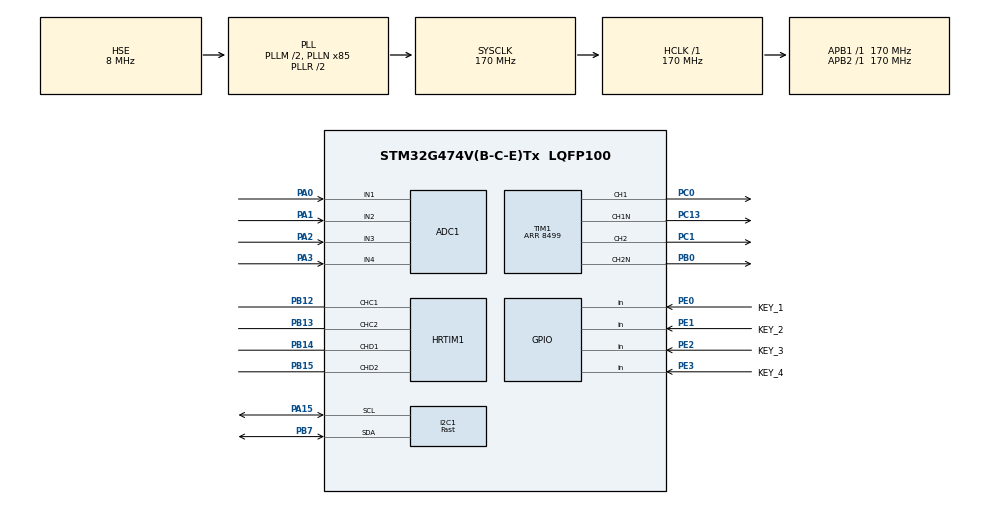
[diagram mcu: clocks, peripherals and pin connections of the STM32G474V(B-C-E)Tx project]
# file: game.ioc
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ADC1.Channel-0\#ChannelRegularConversion=ADC_CHANNEL_1
ADC1.Channel-1\#ChannelRegularConversion=ADC_CHANNEL_2
ADC1.Channel-2\#ChannelRegularConversion=ADC_CHANNEL_3
ADC1.Channel-3\#ChannelRegularConversion=ADC_CHANNEL_4
ADC1.DMAContinuousRequests=ENABLE
ADC1.ExternalTrigConv=ADC_EXTERNALTRIG_HRTIM_TRG1
ADC1.NbrOfConversion=4
ADC1.NbrOfConversionFlag=1
ADC1.OffsetNumber-0\#ChannelRegularConversion=ADC_OFFSET_NONE
ADC1.OffsetNumber-1\#ChannelRegularConversion=ADC_OFFSET_NONE
ADC1.OffsetNumber-2\#ChannelRegularConversion=ADC_OFFSET_NONE
ADC1.OffsetNumber-3\#ChannelRegularConversion=ADC_OFFSET_NONE
ADC1.Rank-0\#ChannelRegularConversion=1
ADC1.Rank-1\#ChannelRegularConversion=2
ADC1.Rank-2\#ChannelRegularConversion=3
ADC1.Rank-3\#ChannelRegularConversion=4
ADC1.SamplingTime-0\#ChannelRegularConversion=ADC_SAMPLETIME_47CYCLES_5
ADC1.SamplingTime-1\#ChannelRegularConversion=ADC_SAMPLETIME_47CYCLES_5
ADC1.SamplingTime-2\#ChannelRegularConversion=ADC_SAMPLETIME_47CYCLES_5
ADC1.SamplingTime-3\#ChannelRegularConversion=ADC_SAMPLETIME_47CYCLES_5
ADC1.master=1
Dma.ADC1.0.Direction=DMA_PERIPH_TO_MEMORY
Dma.ADC1.0.EventEnable=DISABLE
Dma.ADC1.0.Instance=DMA1_Channel1
Dma.ADC1.0.MemDataAlignment=DMA_MDATAALIGN_WORD
Dma.ADC1.0.MemInc=DMA_MINC_ENABLE
Dma.ADC1.0.Mode=DMA_CIRCULAR
Dma.ADC1.0.PeriphDataAlignment=DMA_PDATAALIGN_WORD
Dma.ADC1.0.PeriphInc=DMA_PINC_DISABLE
Dma.ADC1.0.Polarity=HAL_DMAMUX_REQ_GEN_RISING
Dma.ADC1.0.Priority=DMA_PRIORITY_LOW
Dma.ADC1.0.RequestNumber=1
Dma.ADC1.0.SignalID=NONE
Dma.ADC1.0.SyncEnable=DISABLE
Dma.ADC1.0.SyncPolarity=HAL_DMAMUX_SYNC_NO_EVENT
Dma.ADC1.0.SyncRequestNumber=1
Dma.ADC1.0.SyncSignalID=NONE
Dma.Request0=ADC1
HRTIM1.ADCTrigger1_Source1=HRTIM_ADCTRIGGEREVENT13_TIMERC_PERIOD
HRTIM1.ADCTrigger_Id1=HRTIM_ADCTRIGGER_1
HRTIM1.CompareUnit1-Output_TC1TC2=HRTIM_COMPAREUNIT_1
HRTIM1.CompareUnit1-Output_TD1TD2=HRTIM_COMPAREUNIT_1
HRTIM1.CompareValue1-Output_TC1TC2=16000
HRTIM1.CompareValue1-Output_TD1TD2=16000
HRTIM1.DeadTimeInsertion-Output_TC1TC2=HRTIM_TIMDEADTIMEINSERTION_ENABLED
HRTIM1.DeadTimeInsertion-Output_TD1TD2=HRTIM_TIMDEADTIMEINSERTION_ENABLED
HRTIM1.Deadtimeconfig-Output_TC1TC2=HRTIM_TIMERINDEX_TIMER_C
HRTIM1.Deadtimeconfig-Output_TD1TD2=HRTIM_TIMERINDEX_TIMER_D
HRTIM1.NumberADCTriggerSource1=1
HRTIM1.NumberResetSource1-Output_TC1TC2=1
HRTIM1.NumberResetSource1-Output_TD1TD2=1
HRTIM1.NumberResetSource2_TC=0
HRTIM1.NumberResetSource2_TD=0
HRTIM1.NumberResetTrigger-Output_TC1TC2=1
HRTIM1.NumberResetTrigger-Output_TD1TD2=1
HRTIM1.NumberSetSource1-Output_TC1TC2=1
HRTIM1.NumberSetSource1-Output_TD1TD2=1
HRTIM1.NumberSetSource2_TC=0
HRTIM1.NumberSetSource2_TD=0
HRTIM1.NumberUpdateTrigger-Output_TC1TC2=1
HRTIM1.NumberUpdateTrigger-Output_TD1TD2=1
HRTIM1.Periode_TC=34000
HRTIM1.Periode_TD=34000
HRTIM1.PrescalerRatio_TC=HRTIM_PRESCALERRATIO_MUL4
HRTIM1.PrescalerRatio_TD=HRTIM_PRESCALERRATIO_MUL4
HRTIM1.PushPull-Output_TC1TC2=HRTIM_TIMPUSHPULLMODE_DISABLED
HRTIM1.PushPull-Output_TD1TD2=HRTIM_TIMPUSHPULLMODE_DISABLED
HRTIM1.RepetitionUpdate-Output_TC1TC2=HRTIM_UPDATEONREPETITION_ENABLED
HRTIM1.RepetitionUpdate-Output_TD1TD2=HRTIM_UPDATEONREPETITION_ENABLED
HRTIM1.ResetOutput1_Source1-Output_TC1TC2=HRTIM_OUTPUTRESET_TIMCMP1
HRTIM1.ResetOutput1_Source1-Output_TD1TD2=HRTIM_OUTPUTRESET_TIMCMP1
HRTIM1.ResetTrigger1-Output_TC1TC2=HRTIM_TIMRESETTRIGGER_UPDATE
HRTIM1.ResetTrigger1-Output_TD1TD2=HRTIM_TIMRESETTRIGGER_UPDATE
HRTIM1.SetOutput1_Source1-Output_TC1TC2=HRTIM_OUTPUTSET_TIMPER
HRTIM1.SetOutput1_Source1-Output_TD1TD2=HRTIM_OUTPUTSET_TIMPER
HRTIM1.UpdateTrigger1-Output_TC1TC2=HRTIM_TIMUPDATETRIGGER_TIMER_C
HRTIM1.UpdateTrigger1-Output_TD1TD2=HRTIM_TIMUPDATETRIGGER_TIMER_D
I2C1.I2C_Speed_Mode=I2C_Fast
I2C1.Timing=0x40621236
Mcu.Family=STM32G4
Mcu.Name=STM32G474V(B-C-E)Tx
Mcu.Package=LQFP100
NVIC.DMA1_Channel1_IRQn=true\:0\:0\:false\:false\:true\:false\:true\:true
NVIC.PriorityGroup=NVIC_PRIORITYGROUP_4
PA0.Mode=IN1-Single-Ended
PA0.Signal=ADC1_IN1
PA1.Mode=IN2-Single-Ended
PA1.Signal=ADC1_IN2
PA13.Mode=Serial_Wire
PA13.Signal=SYS_JTMS-SWDIO
PA14.Mode=Serial_Wire
PA14.Signal=SYS_JTCK-SWCLK
PA15.Mode=I2C
PA15.Signal=I2C1_SCL
PA2.Mode=IN3-Single-Ended
PA2.Signal=ADC1_IN3
PA3.Mode=IN4-Single-Ended
PA3.Signal=ADC1_IN4
PB0.Mode=PWM Generation2 CH2 CH2N
PB0.Signal=TIM1_CH2N
PB12.Mode=Output_TC1TC2
PB12.Signal=HRTIM1_CHC1
PB13.Mode=Output_TC1TC2
PB13.Signal=HRTIM1_CHC2
PB14.Mode=Output_TD1TD2
PB14.Signal=HRTIM1_CHD1
PB15.Mode=Output_TD1TD2
PB15.Signal=HRTIM1_CHD2
PB7.Mode=I2C
PB7.Signal=I2C1_SDA
PC0.Signal=S_TIM1_CH1
PC1.Signal=S_TIM1_CH2
PC13.Mode=PWM Generation1 CH1 CH1N
PC13.Signal=TIM1_CH1N
PE0.GPIO_Label=KEY_1
PE0.GPIO_PuPd=GPIO_PULLUP
PE0.Signal=GPIO_Input
PE1.GPIO_Label=KEY_2
PE1.GPIO_PuPd=GPIO_PULLUP
PE1.Signal=GPIO_Input
PE2.GPIO_Label=KEY_3
PE2.GPIO_PuPd=GPIO_PULLUP
PE2.Signal=GPIO_Input
PE3.GPIO_Label=KEY_4
PE3.GPIO_PuPd=GPIO_PULLUP
PE3.Signal=GPIO_Input
PF0-OSC_IN.Mode=HSE-External-Oscillator
PF0-OSC_IN.Signal=RCC_OSC_IN
PF1-OSC_OUT.Mode=HSE-External-Oscillator
PF1-OSC_OUT.Signal=RCC_OSC_OUT
ProjectManager.HeapSize=0x200
ProjectManager.StackSize=0x400
ProjectManager.TargetToolchain=CMake
RCC.ADC12Freq_Value=170000000
RCC.ADC345Freq_Value=170000000
RCC.AHBFreq_Value=170000000
RCC.APB1Freq_Value=170000000
RCC.APB1TimFreq_Value=170000000
RCC.APB2Freq_Value=170000000
RCC.APB2TimFreq_Value=170000000
RCC.CortexFreq_Value=170000000
RCC.EXTERNAL_CLOCK_VALUE=12288000
RCC.HCLKFreq_Value=170000000
RCC.HSE_VALUE=8000000
RCC.HSI48_VALUE=48000000
RCC.HSI_VALUE=16000000
RCC.LSE_VALUE=32768
RCC.PLLM=RCC_PLLM_DIV2
RCC.PLLN=85
RCC.PLLSourceVirtual=RCC_PLLSOURCE_HSE
RCC.SYSCLKFreq_VALUE=170000000
RCC.SYSCLKSource=RCC_SYSCLKSOURCE_PLLCLK
RCC.USBFreq_Value=170000000
RCC.VCOOutputFreq_Value=340000000
SH.S_TIM1_CH1.0=TIM1_CH1,PWM Generation1 CH1 CH1N
SH.S_TIM1_CH2.0=TIM1_CH2,PWM Generation2 CH2 CH2N
TIM1.Channel-PWM\ Generation1\ CH1\ CH1N=TIM_CHANNEL_1
TIM1.Channel-PWM\ Generation2\ CH2\ CH2N=TIM_CHANNEL_2
TIM1.PeriodNoDither=8499
TIM1.PulseNoDither_1=4250
TIM1.PulseNoDither_2=2125
TIM1.TIM_MasterOutputTrigger=TIM_TRGO_UPDATE
TIM1.TIM_MasterOutputTrigger2=TIM_TRGO2_UPDATE
VP_SYS_VS_DBSignals.Mode=DisableDeadBatterySignals
VP_TIM1_VS_ClockSourceINT.Mode=Internal
board=custom

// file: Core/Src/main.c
/* USER CODE BEGIN Header */
/* TEST: auto push hook demo */
/**
  ******************************************************************************
  * @file           : main.c
  * @brief          : Main program body
  ******************************************************************************
  * @attention
  *
  * Copyright (c) 2026 STMicroelectronics.
  * All rights reserved.
  *
  * This software is licensed under terms that can be found in the LICENSE file
  * in the root directory of this software component.
  * If no LICENSE file comes with this software, it is provided AS-IS.
  *
  ******************************************************************************
  */
/* USER CODE END Header */
#include "main.h"
#include "adc.h"
#include "dma.h"
#include "hrtim.h"
#include "i2c.h"
#include "tim.h"
#include "gpio.h"

/* USER CODE BEGIN Includes */
#include"oled.h"
#include"stdio.h"
/* USER CODE END Includes */

/* USER CODE BEGIN PD */
#define IIR_ALPHA 0.0005f
#define ARR 34000
/* USER CODE END PD */

/* USER CODE BEGIN PV */
uint32_t adc_buffer[4];
int a = 0;
int n = 0;
float u1 = 0.0;
float value = 0.0;
float value2 = 0.0;
float value3 = 0.0;
float value4 = 0.0;
float err = 0.0;
float err2 = 0.0;
float CCR = 17000;
float CCR2 = 17000;
float tarvoltage = 15000;
float tarcurrent = 1980;
float kp = 0.0001;
float kp2 = 0.0005;
char message[50];
char message2[50];
char message3[50];
char message4[50];
char message5[50];
char message6[50];
char message7[50];
float disp_u1 = 0.0f;
float disp_i1 = 0.0f;
float disp_u0 = 0.0f;
float disp_i0 = 0.0f;
/* USER CODE END PV */

void SystemClock_Config(void);

int main(void)
{

  /* MCU Configuration--------------------------------------------------------*/

  /* Reset of all peripherals, Initializes the Flash interface and the Systick. */
  HAL_Init();

  /* Configure the system clock */
  SystemClock_Config();

  /* Initialize all configured peripherals */
  MX_GPIO_Init();
  MX_DMA_Init();
  MX_ADC1_Init();
  MX_I2C1_Init();
  MX_TIM1_Init();
  MX_HRTIM1_Init();
  /* USER CODE BEGIN 2 */
  HAL_Delay(100);
  OLED_Init();

  //HAL_Delay(200);
  HAL_TIM_Base_Start(&htim1);
  // HAL_TIM_PWM_Start(&htim1, TIM_CHANNEL_1);
  // HAL_TIMEx_PWMN_Start(&htim1, TIM_CHANNEL_1);
  // HAL_TIM_PWM_Start(&htim1, TIM_CHANNEL_2);
  // HAL_TIMEx_PWMN_Start(&htim1, TIM_CHANNEL_2);

  /* Enable outputs BEFORE starting counters (ST recommended order) */
  HAL_HRTIM_WaveformOutputStart(&hhrtim1, HRTIM_OUTPUT_TC1 | HRTIM_OUTPUT_TC2);
  HAL_HRTIM_WaveformOutputStart(&hhrtim1, HRTIM_OUTPUT_TD1 | HRTIM_OUTPUT_TD2);
  HAL_HRTIM_WaveformCountStart(&hhrtim1 , HRTIM_TIMERID_TIMER_C);
  HAL_HRTIM_WaveformCountStart(&hhrtim1 , HRTIM_TIMERID_TIMER_D);

  /* Set initial fixed duty before enabling ADC ISR feedback */
  HRTIM1->sTimerxRegs[HRTIM_TIMERINDEX_TIMER_C].CMP1xR = 17000;
  HRTIM1->sTimerxRegs[HRTIM_TIMERINDEX_TIMER_D].CMP1xR = 17000;

  HAL_ADC_Start_DMA(&hadc1, (uint32_t *)(adc_buffer), 4);

  /* USER CODE END 2 */

  /* Infinite loop */
  /* USER CODE BEGIN WHILE */
  while (1)
  {
    disp_u1 += IIR_ALPHA * (value - disp_u1);
    disp_i1 += IIR_ALPHA * (value2 - disp_i1);
    disp_u0 += IIR_ALPHA * (value3 - disp_u0);
    disp_i0 += IIR_ALPHA * (value4 - disp_i0);
    a++;
    if (a >= 500) {
      OLED_NewFrame();
      sprintf(message,"U1: %.2f",disp_u1 / 1000) ;
      sprintf(message2,"I1: %.2f",(disp_i1 / 1000 + 2.02) / 2 );
      sprintf(message3,"U0: %.2f",disp_u0 / 1000) ;
      sprintf(message4,"I0: %.2f",disp_i0 / 1000 + 0.01) ;
      sprintf(message5,"P1: %.2f", disp_u1 /1000 * (disp_i1 / 1000 + 2.02) / 2) ;
      OLED_PrintString(1, 1, message, &font16x16, OLED_COLOR_NORMAL);
      OLED_PrintString(1, 15, message2, &font16x16, OLED_COLOR_NORMAL);
      OLED_PrintString(1, 29, message3, &font16x16, OLED_COLOR_NORMAL);
      OLED_PrintString(1, 45, message4, &font16x16, OLED_COLOR_NORMAL);
      OLED_PrintString(65, 1, message5, &font16x16, OLED_COLOR_NORMAL);
      OLED_ShowFrame();
      a = 0;
    }

     // float_data[0] = a;     // 电压读数
     // float_data[1] = CCR;       // PI 输出
     // float_data[2] = value2;       // 误差
     // JustFloat_Send(float_data, 3, JUSTFLOAT_TYPE_FLOAT);
     if(HAL_GPIO_ReadPin(KEY_3_GPIO_Port, KEY_3_Pin) == GPIO_PIN_RESET)
     {
       HAL_Delay(20);
       while(HAL_GPIO_ReadPin(KEY_3_GPIO_Port, KEY_3_Pin) == GPIO_PIN_RESET)
       {

       }
       HAL_Delay(20);
       tarcurrent += 10;
     }
     if(HAL_GPIO_ReadPin(KEY_4_GPIO_Port, KEY_4_Pin) == GPIO_PIN_RESET)
     {
       HAL_Delay(20);
       while(HAL_GPIO_ReadPin(KEY_4_GPIO_Port, KEY_4_Pin) == GPIO_PIN_RESET)
       {
       }
       HAL_Delay(20);
       tarcurrent -= 10;
     }

     if(HAL_GPIO_ReadPin(KEY_1_GPIO_Port, KEY_1_Pin) == GPIO_PIN_RESET)
     {
       HAL_Delay(20);
       while(HAL_GPIO_ReadPin(KEY_1_GPIO_Port, KEY_1_Pin) == GPIO_PIN_RESET)
       {

       }
       HAL_Delay(20);
       tarvoltage += 1000;
     }
     if(HAL_GPIO_ReadPin(KEY_2_GPIO_Port, KEY_2_Pin) == GPIO_PIN_RESET)
     {
       HAL_Delay(20);
       while(HAL_GPIO_ReadPin(KEY_2_GPIO_Port, KEY_2_Pin) == GPIO_PIN_RESET)
       {
       }
       HAL_Delay(20);
       tarvoltage -= 1000;
     }
    /* USER CODE END WHILE */

  }
}

void SystemClock_Config(void)
{
  RCC_OscInitTypeDef RCC_OscInitStruct = {0};
  RCC_ClkInitTypeDef RCC_ClkInitStruct = {0};

  /** Configure the main internal regulator output voltage
  */
  HAL_PWREx_ControlVoltageScaling(PWR_REGULATOR_VOLTAGE_SCALE1_BOOST);

  /** Initializes the RCC Oscillators according to the specified parameters
  * in the RCC_OscInitTypeDef structure.
  */
  RCC_OscInitStruct.OscillatorType = RCC_OSCILLATORTYPE_HSE;
  RCC_OscInitStruct.HSEState = RCC_HSE_ON;
  RCC_OscInitStruct.PLL.PLLState = RCC_PLL_ON;
  RCC_OscInitStruct.PLL.PLLSource = RCC_PLLSOURCE_HSE;
  RCC_OscInitStruct.PLL.PLLM = RCC_PLLM_DIV2;
  RCC_OscInitStruct.PLL.PLLN = 85;
  RCC_OscInitStruct.PLL.PLLP = RCC_PLLP_DIV2;
  RCC_OscInitStruct.PLL.PLLQ = RCC_PLLQ_DIV2;
  RCC_OscInitStruct.PLL.PLLR = RCC_PLLR_DIV2;
  if (HAL_RCC_OscConfig(&RCC_OscInitStruct) != HAL_OK)
  {
    Error_Handler();
  }

  /** Initializes the CPU, AHB and APB buses clocks
  */
  RCC_ClkInitStruct.ClockType = RCC_CLOCKTYPE_HCLK|RCC_CLOCKTYPE_SYSCLK
                              |RCC_CLOCKTYPE_PCLK1|RCC_CLOCKTYPE_PCLK2;
  RCC_ClkInitStruct.SYSCLKSource = RCC_SYSCLKSOURCE_PLLCLK;
  RCC_ClkInitStruct.AHBCLKDivider = RCC_SYSCLK_DIV1;
  RCC_ClkInitStruct.APB1CLKDivider = RCC_HCLK_DIV1;
  RCC_ClkInitStruct.APB2CLKDivider = RCC_HCLK_DIV1;

  if (HAL_RCC_ClockConfig(&RCC_ClkInitStruct, FLASH_LATENCY_4) != HAL_OK)
  {
    Error_Handler();
  }
}

/* USER CODE BEGIN 4 */
void HAL_ADC_ConvCpltCallback(ADC_HandleTypeDef *hadc){

  //tarvoltage = 20000- k*value2;

  if (hadc->Instance != ADC1) return;
n++;
  value = adc_buffer[0] * 3300.0 /4095.0 * 10.0 * 1.024;
  err = tarvoltage - value;
  CCR += kp*err;
  if(CCR >= 33000)CCR = 33000;
  if(CCR <= 100)CCR = 100;

 // __HAL_TIM_SET_COMPARE(&htim1, TIM_CHANNEL_1, CCR);
  HRTIM1->sTimerxRegs[HRTIM_TIMERINDEX_TIMER_C].CMP1xR = (uint32_t)CCR;
  value2 = adc_buffer[1] * 3300.0 /4095.0 * 4.667 * 1.145;
  err2 = tarcurrent - value2;
  CCR2 -= kp2 * err2;
  if(CCR2 >= 30000)CCR2 = 30000;
  if(CCR2 <= ARR / 2)CCR2 = ARR / 2;
  //__HAL_TIM_SET_COMPARE(&htim1, TIM_CHANNEL_2, CCR2);
HRTIM1->sTimerxRegs[HRTIM_TIMERINDEX_TIMER_D].CMP1xR = CCR2;
  value3 = adc_buffer[2] * 3300.0 /4095.0 * 10.0 / 0.988;
  value4 = adc_buffer[3] * 3300.0 /4095.0 * 5.0 / 0.7818;

  // __HAL_HRTIM_SETCOMPARE(&hhrtim1, HRTIM_TIMERINDEX_TIMER_D, HRTIM_COMPAREUNIT_1, CCR2);
  //HAL_HRTIM_SoftwareUpdate(&hhrtim1, HRTIM_TIMERINDEX_TIMER_D);
  // value2 = adc_buffer[1] * 3300.0 /4095.0 * 2 *0.9954;
  // err2 = tarcurrent - value2;
  // CCR2 += kp2*err2;
  // if(CCR2 >= 8200)CCR2 = 8200;
  // if(CCR2 <= 100)CCR2 = 100;

  // if(a == 0){
  //
  // }
  // if(a == 1){
  //   __HAL_TIM_SET_COMPARE(&htim1,TIM_CHANNEL_1,CCR2);
  // }

}
/* USER CODE END 4 */

void Error_Handler(void)
{
  __disable_irq();
  while (1)
  {
  }
}
